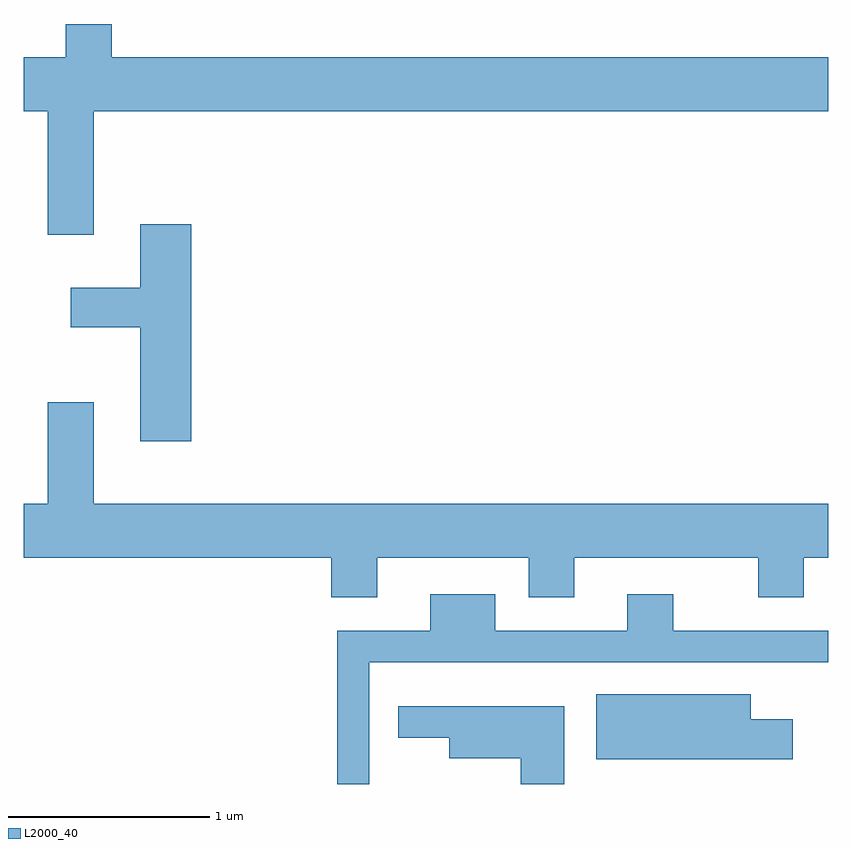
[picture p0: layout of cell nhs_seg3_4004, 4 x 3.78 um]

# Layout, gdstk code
import gdstk
lib = gdstk.Library(unit=1e-6, precision=1e-09)
def P(c, l, *ps):  # polygons
    for p in ps: c.add(gdstk.Polygon(p, *l))
L2000_40 = (2000, 40)

nhs_seg3_4004 = lib.new_cell('nhs_seg3_4004')
P(nhs_seg3_4004, L2000_40, [(301.959,1239.236),(305.611,1239.236),(305.611,1239.504),(302.049,1239.504),(302.049,1239.669),(301.821,1239.669),(301.821,1239.504),(301.611,1239.504),(301.611,1239.236),(301.731,1239.236),(301.731,1238.621),(301.959,1238.621)],
  [(302.444,1238.674),(302.191,1238.674),(302.191,1238.359),(301.846,1238.359),(301.846,1238.161),(302.191,1238.161),(302.191,1237.596),(302.444,1237.596)],
  [(301.959,1237.789),(301.731,1237.789),(301.731,1237.284),(301.611,1237.284),(301.611,1237.016),(303.141,1237.016),(303.141,1236.821),(303.369,1236.821),(303.369,1237.016),(304.121,1237.016),(304.121,1236.821),(304.349,1236.821),(304.349,1237.016),(305.261,1237.016),(305.261,1236.821),(305.489,1236.821),(305.489,1237.016),(305.611,1237.016),(305.611,1237.284),(301.959,1237.284)],
  [(303.329,1236.496),(305.611,1236.496),(305.611,1236.654),(304.839,1236.654),(304.839,1236.834),(304.611,1236.834),(304.611,1236.654),(303.954,1236.654),(303.954,1236.834),(303.631,1236.834),(303.631,1236.654),(303.171,1236.654),(303.171,1235.892),(303.329,1235.892)],
  [(305.434,1236.214),(305.224,1236.214),(305.224,1236.339),(304.456,1236.339),(304.456,1236.016),(305.434,1236.016)],
  [(304.299,1236.279),(303.473,1236.279),(303.473,1236.121),(303.726,1236.121),(303.726,1236.021),(304.081,1236.021),(304.081,1235.892),(304.299,1235.892)])

lib.write_gds('nhs_seg3_4004.gds')
